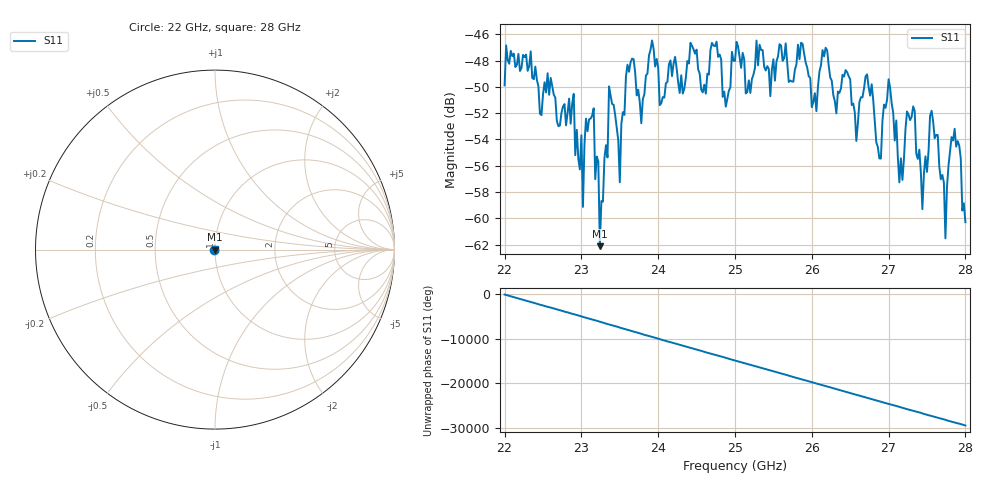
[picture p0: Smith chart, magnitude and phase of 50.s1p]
#  HZ  S  RI  R  50.00
! Rohde & Schwarz ZVA40 4Ports - Version 3.90 - 1145.1110k42 SN: 100403
! Date: 2023-10-04 06:26:02
! Measurement: S12
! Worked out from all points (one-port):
!   301 points, 22 GHz to 28 GHz, reference 50 ohm
!   lowest |S11| = -62.1 dB at 23.24 GHz (marker M1), VSWR 1.00, Z = 50 - j0.0777 ohm
!   |S11| at or under -10 dB: start of sweep to end of sweep
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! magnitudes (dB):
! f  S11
! 22 GHz  -49.9
! 22.76 GHz  -51.5
! 22.9 GHz  -50.5
! 22.92 GHz  -55.2
! 23 GHz  -53.7
! 23.02 GHz  -59.1
! 23.06 GHz  -52.4
! 23.16 GHz  -51.6
! 23.24 GHz  -62.1
! 23.36 GHz  -50.0
! 23.5 GHz  -57.3
! 23.6 GHz  -48.3
! 23.78 GHz  -52.8
! 23.92 GHz  -46.5
! 24.02 GHz  -51.4
! 24.26 GHz  -49.7
! 25 GHz  -48.0
! 25.76 GHz  -49.6
! 26.5 GHz  -49.4
! 26.9 GHz  -55.5
! 27 GHz  -49.4
! 27.14 GHz  -57.3
! 27.26 GHz  -52.1
! 27.44 GHz  -59.3
! 27.56 GHz  -51.8
! 27.74 GHz  -61.5
! 27.86 GHz  -53.2
! 28 GHz  -60.3
